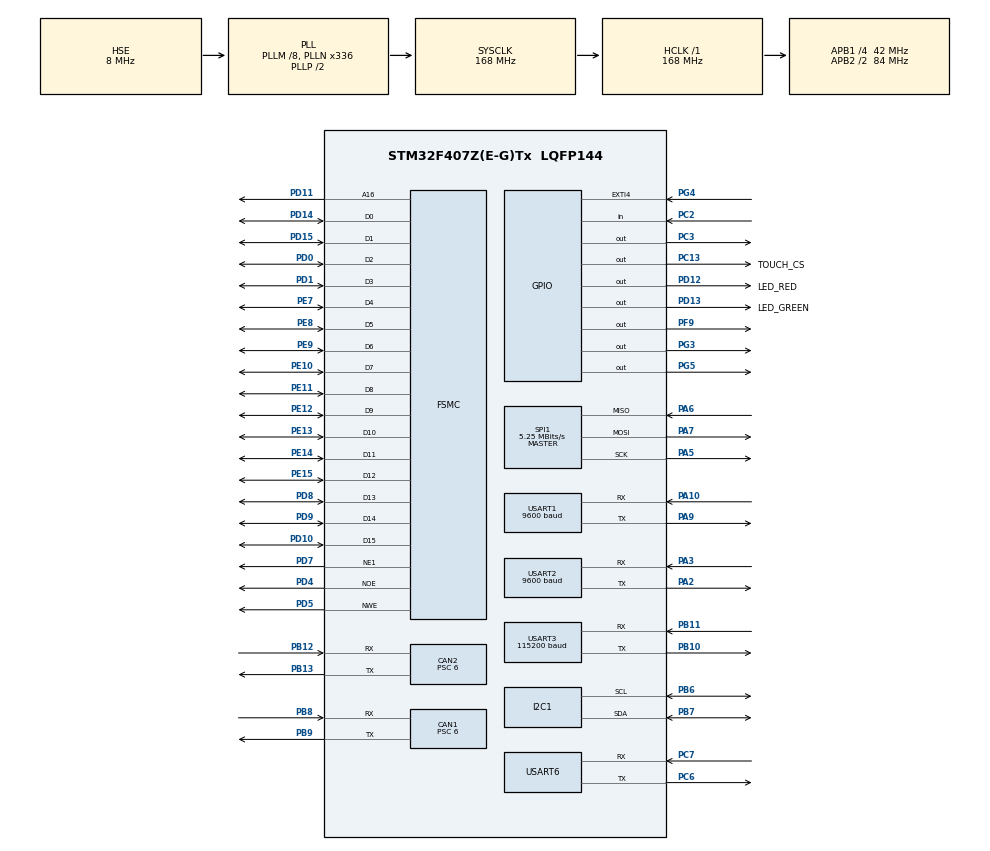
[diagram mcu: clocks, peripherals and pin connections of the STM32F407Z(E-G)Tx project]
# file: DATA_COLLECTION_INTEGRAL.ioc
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CAN1.ABOM=ENABLE
CAN1.AWUM=DISABLE
CAN1.BS1=CAN_BS1_12TQ
CAN1.CalculateBaudRate=500000
CAN1.CalculateTimeBit=2000
CAN1.CalculateTimeQuantum=142.85714285714286
CAN1.NART=ENABLE
CAN1.Prescaler=6
CAN2.ABOM=ENABLE
CAN2.AWUM=DISABLE
CAN2.BS1=CAN_BS1_12TQ
CAN2.CalculateBaudRate=500000
CAN2.CalculateTimeBit=2000
CAN2.CalculateTimeQuantum=142.85714285714286
CAN2.NART=ENABLE
CAN2.Prescaler=6
Dma.Request0=USART1_RX
Dma.Request1=USART1_TX
Dma.Request2=USART3_RX
Dma.Request3=USART3_TX
Dma.Request4=SPI1_RX
Dma.Request5=SPI1_TX
Dma.SPI1_RX.4.Direction=DMA_PERIPH_TO_MEMORY
Dma.SPI1_RX.4.FIFOMode=DMA_FIFOMODE_DISABLE
Dma.SPI1_RX.4.Instance=DMA2_Stream0
Dma.SPI1_RX.4.MemDataAlignment=DMA_MDATAALIGN_BYTE
Dma.SPI1_RX.4.MemInc=DMA_MINC_ENABLE
Dma.SPI1_RX.4.Mode=DMA_CIRCULAR
Dma.SPI1_RX.4.PeriphDataAlignment=DMA_PDATAALIGN_BYTE
Dma.SPI1_RX.4.PeriphInc=DMA_PINC_DISABLE
Dma.SPI1_RX.4.Priority=DMA_PRIORITY_LOW
Dma.SPI1_TX.5.Direction=DMA_MEMORY_TO_PERIPH
Dma.SPI1_TX.5.FIFOMode=DMA_FIFOMODE_DISABLE
Dma.SPI1_TX.5.Instance=DMA2_Stream5
Dma.SPI1_TX.5.MemDataAlignment=DMA_MDATAALIGN_BYTE
Dma.SPI1_TX.5.MemInc=DMA_MINC_ENABLE
Dma.SPI1_TX.5.Mode=DMA_NORMAL
Dma.SPI1_TX.5.PeriphDataAlignment=DMA_PDATAALIGN_BYTE
Dma.SPI1_TX.5.PeriphInc=DMA_PINC_DISABLE
Dma.SPI1_TX.5.Priority=DMA_PRIORITY_LOW
Dma.USART1_RX.0.Direction=DMA_PERIPH_TO_MEMORY
Dma.USART1_RX.0.FIFOMode=DMA_FIFOMODE_DISABLE
Dma.USART1_RX.0.Instance=DMA2_Stream2
Dma.USART1_RX.0.MemDataAlignment=DMA_MDATAALIGN_BYTE
Dma.USART1_RX.0.MemInc=DMA_MINC_ENABLE
Dma.USART1_RX.0.Mode=DMA_CIRCULAR
Dma.USART1_RX.0.PeriphDataAlignment=DMA_PDATAALIGN_BYTE
Dma.USART1_RX.0.PeriphInc=DMA_PINC_DISABLE
Dma.USART1_RX.0.Priority=DMA_PRIORITY_LOW
Dma.USART1_TX.1.Direction=DMA_MEMORY_TO_PERIPH
Dma.USART1_TX.1.FIFOMode=DMA_FIFOMODE_DISABLE
Dma.USART1_TX.1.Instance=DMA2_Stream7
Dma.USART1_TX.1.MemDataAlignment=DMA_MDATAALIGN_BYTE
Dma.USART1_TX.1.MemInc=DMA_MINC_ENABLE
Dma.USART1_TX.1.Mode=DMA_NORMAL
Dma.USART1_TX.1.PeriphDataAlignment=DMA_PDATAALIGN_BYTE
Dma.USART1_TX.1.PeriphInc=DMA_PINC_DISABLE
Dma.USART1_TX.1.Priority=DMA_PRIORITY_LOW
Dma.USART3_RX.2.Direction=DMA_PERIPH_TO_MEMORY
Dma.USART3_RX.2.FIFOMode=DMA_FIFOMODE_DISABLE
Dma.USART3_RX.2.Instance=DMA1_Stream1
Dma.USART3_RX.2.MemDataAlignment=DMA_MDATAALIGN_BYTE
Dma.USART3_RX.2.MemInc=DMA_MINC_ENABLE
Dma.USART3_RX.2.Mode=DMA_CIRCULAR
Dma.USART3_RX.2.PeriphDataAlignment=DMA_PDATAALIGN_BYTE
Dma.USART3_RX.2.PeriphInc=DMA_PINC_DISABLE
Dma.USART3_RX.2.Priority=DMA_PRIORITY_LOW
Dma.USART3_TX.3.Direction=DMA_MEMORY_TO_PERIPH
Dma.USART3_TX.3.FIFOMode=DMA_FIFOMODE_DISABLE
Dma.USART3_TX.3.Instance=DMA1_Stream3
Dma.USART3_TX.3.MemDataAlignment=DMA_MDATAALIGN_BYTE
Dma.USART3_TX.3.MemInc=DMA_MINC_ENABLE
Dma.USART3_TX.3.Mode=DMA_NORMAL
Dma.USART3_TX.3.PeriphDataAlignment=DMA_PDATAALIGN_BYTE
Dma.USART3_TX.3.PeriphInc=DMA_PINC_DISABLE
Dma.USART3_TX.3.Priority=DMA_PRIORITY_LOW
FREERTOS.Tasks01=defaultTask,24,1024,StartDefaultTask,Default,NULL,Dynamic,NULL,NULL
FREERTOS.configTOTAL_HEAP_SIZE=16384
FREERTOS.configMINIMAL_STACK_SIZE=256
FREERTOS.configUSE_NEWLIB_REENTRANT=1
FSMC.AddressSetupTime1=15
FSMC.BusTurnAroundDuration1=0
FSMC.DataSetupTime1=60
FSMC.ExtendedAddressSetupTime1=5
FSMC.ExtendedDataSetupTime1=15
FSMC.ExtendedMode1=FSMC_EXTENDED_MODE_ENABLE
Mcu.Family=STM32F4
Mcu.Name=STM32F407Z(E-G)Tx
Mcu.Package=LQFP144
NVIC.CAN1_RX0_IRQn=true\:5\:0\:false\:false\:true\:true\:true\:true\:true
NVIC.CAN1_RX1_IRQn=true\:5\:0\:false\:false\:true\:true\:true\:true\:true
NVIC.CAN1_SCE_IRQn=true\:5\:0\:false\:false\:true\:true\:true\:true\:true
NVIC.CAN2_RX0_IRQn=true\:5\:0\:false\:false\:true\:true\:true\:true\:true
NVIC.CAN2_RX1_IRQn=true\:5\:0\:false\:false\:true\:true\:true\:true\:true
NVIC.CAN2_SCE_IRQn=true\:5\:0\:false\:false\:true\:true\:true\:true\:true
NVIC.DMA1_Stream1_IRQn=true\:5\:0\:false\:false\:true\:true\:false\:true\:true
NVIC.DMA1_Stream3_IRQn=true\:5\:0\:false\:false\:true\:true\:false\:true\:true
NVIC.DMA2_Stream0_IRQn=true\:5\:0\:false\:false\:true\:false\:false\:true\:true
NVIC.DMA2_Stream2_IRQn=true\:5\:0\:false\:false\:true\:true\:false\:true\:true
NVIC.DMA2_Stream5_IRQn=true\:5\:0\:false\:false\:true\:true\:false\:true\:true
NVIC.DMA2_Stream7_IRQn=true\:5\:0\:false\:false\:true\:true\:false\:true\:true
NVIC.PriorityGroup=NVIC_PRIORITYGROUP_4
NVIC.TIM8_UP_TIM13_IRQn=true\:15\:0\:false\:false\:true\:false\:false\:true\:true
NVIC.TimeBase=TIM8_UP_TIM13_IRQn
NVIC.TimeBaseIP=TIM8
NVIC.USART1_IRQn=true\:5\:0\:false\:false\:true\:true\:true\:true\:true
NVIC.USART3_IRQn=true\:5\:0\:false\:false\:true\:true\:true\:true\:true
NVIC.USART6_IRQn=true\:5\:0\:false\:false\:true\:true\:true\:true\:true
PA10.GPIO_PuPd=GPIO_PULLUP
PA10.Mode=Asynchronous
PA10.Signal=USART1_RX
PA13.Mode=Serial_Wire
PA13.Signal=SYS_JTMS-SWDIO
PA14.Mode=Serial_Wire
PA14.Signal=SYS_JTCK-SWCLK
PA2.Mode=Asynchronous
PA2.Signal=USART2_TX
PA3.Mode=Asynchronous
PA3.Signal=USART2_RX
PA5.Mode=Full_Duplex_Master
PA5.Signal=SPI1_SCK
PA6.GPIO_PuPd=GPIO_PULLUP
PA6.Mode=Full_Duplex_Master
PA6.Signal=SPI1_MISO
PA7.Mode=Full_Duplex_Master
PA7.Signal=SPI1_MOSI
PA9.Mode=Asynchronous
PA9.Signal=USART1_TX
PB10.Mode=Asynchronous
PB10.Signal=USART3_TX
PB11.GPIO_PuPd=GPIO_PULLUP
PB11.Mode=Asynchronous
PB11.Signal=USART3_RX
PB12.GPIO_PuPd=GPIO_PULLUP
PB12.Mode=CAN_Activate
PB12.Signal=CAN2_RX
PB13.GPIO_PuPd=GPIO_PULLUP
PB13.Mode=CAN_Activate
PB13.Signal=CAN2_TX
PB6.GPIO_Pu=GPIO_PULLUP
PB6.Mode=I2C
PB6.Signal=I2C1_SCL
PB7.GPIO_Pu=GPIO_PULLUP
PB7.Mode=I2C
PB7.Signal=I2C1_SDA
PB8.GPIO_PuPd=GPIO_PULLUP
PB8.Mode=CAN_Activate
PB8.Signal=CAN1_RX
PB9.GPIO_PuPd=GPIO_NOPULL
PB9.Mode=CAN_Activate
PB9.Signal=CAN1_TX
PC13-ANTI_TAMP.GPIO_Label=TOUCH_CS
PC13-ANTI_TAMP.Signal=GPIO_Output
PC14-OSC32_IN.Mode=LSE-External-Oscillator
PC14-OSC32_IN.Signal=RCC_OSC32_IN
PC15-OSC32_OUT.Mode=LSE-External-Oscillator
PC15-OSC32_OUT.Signal=RCC_OSC32_OUT
PC2.Signal=GPIO_Input
PC3.Signal=GPIO_Output
PC6.Mode=Asynchronous
PC6.Signal=USART6_TX
PC7.GPIO_PuPd=GPIO_PULLUP
PC7.Mode=Asynchronous
PC7.Signal=USART6_RX
PD0.Signal=FSMC_D2_DA2
PD1.Signal=FSMC_D3_DA3
PD10.Signal=FSMC_D15_DA15
PD11.Signal=FSMC_A16_CLE
PD12.GPIO_Label=LED_RED
PD12.Signal=GPIO_Output
PD13.GPIO_Label=LED_GREEN
PD13.Signal=GPIO_Output
PD14.Signal=FSMC_D0_DA0
PD15.Signal=FSMC_D1_DA1
PD4.Signal=FSMC_NOE
PD5.Signal=FSMC_NWE
PD7.Mode=NorPsramChipSelect1_1
PD7.Signal=FSMC_NE1
PD8.Signal=FSMC_D13_DA13
PD9.Signal=FSMC_D14_DA14
PE10.Signal=FSMC_D7_DA7
PE11.Signal=FSMC_D8_DA8
PE12.Signal=FSMC_D9_DA9
PE13.Signal=FSMC_D10_DA10
PE14.Signal=FSMC_D11_DA11
PE15.Signal=FSMC_D12_DA12
PE7.Signal=FSMC_D4_DA4
PE8.Signal=FSMC_D5_DA5
PE9.Signal=FSMC_D6_DA6
PF9.GPIO_Speed=GPIO_SPEED_FREQ_MEDIUM
PF9.Signal=GPIO_Output
PG3.Signal=GPIO_Output
PG4.GPIO_PuPd=GPIO_PULLDOWN
PG4.Signal=GPXTI4
PG5.Signal=GPIO_Output
PH0-OSC_IN.Mode=HSE-External-Oscillator
PH0-OSC_IN.Signal=RCC_OSC_IN
PH1-OSC_OUT.Mode=HSE-External-Oscillator
PH1-OSC_OUT.Signal=RCC_OSC_OUT
ProjectManager.HeapSize=0x200
ProjectManager.StackSize=0x2000
ProjectManager.TargetToolchain=STM32CubeIDE
RCC.48MHZClocksFreq_Value=48000000
RCC.AHBFreq_Value=168000000
RCC.APB1CLKDivider=RCC_HCLK_DIV4
RCC.APB1Freq_Value=42000000
RCC.APB1TimFreq_Value=84000000
RCC.APB2CLKDivider=RCC_HCLK_DIV2
RCC.APB2Freq_Value=84000000
RCC.APB2TimFreq_Value=168000000
RCC.CortexFreq_Value=168000000
RCC.HCLKFreq_Value=168000000
RCC.HSE_VALUE=8000000
RCC.HSI_VALUE=16000000
RCC.PLLM=8
RCC.PLLN=336
RCC.PLLQ=7
RCC.PLLSourceVirtual=RCC_PLLSOURCE_HSE
RCC.RCC_RTC_Clock_Source=RCC_RTCCLKSOURCE_LSE
RCC.RCC_RTC_Clock_SourceVirtual=RCC_RTCCLKSOURCE_LSE
RCC.SYSCLKFreq_VALUE=168000000
RCC.SYSCLKSource=RCC_SYSCLKSOURCE_PLLCLK
RCC.VCOOutputFreq_Value=336000000
SH.FSMC_A16_CLE.0=FSMC_A16,A16_1
SH.FSMC_D0_DA0.0=FSMC_D0,16b-d1
SH.FSMC_D10_DA10.0=FSMC_D10,16b-d1
SH.FSMC_D11_DA11.0=FSMC_D11,16b-d1
SH.FSMC_D12_DA12.0=FSMC_D12,16b-d1
SH.FSMC_D13_DA13.0=FSMC_D13,16b-d1
SH.FSMC_D14_DA14.0=FSMC_D14,16b-d1
SH.FSMC_D15_DA15.0=FSMC_D15,16b-d1
SH.FSMC_D1_DA1.0=FSMC_D1,16b-d1
SH.FSMC_D2_DA2.0=FSMC_D2,16b-d1
SH.FSMC_D3_DA3.0=FSMC_D3,16b-d1
SH.FSMC_D4_DA4.0=FSMC_D4,16b-d1
SH.FSMC_D5_DA5.0=FSMC_D5,16b-d1
SH.FSMC_D6_DA6.0=FSMC_D6,16b-d1
SH.FSMC_D7_DA7.0=FSMC_D7,16b-d1
SH.FSMC_D8_DA8.0=FSMC_D8,16b-d1
SH.FSMC_D9_DA9.0=FSMC_D9,16b-d1
SH.FSMC_NOE.0=FSMC_NOE,Lcd1
SH.FSMC_NWE.0=FSMC_NWE,Lcd1
SPI1.BaudRatePrescaler=SPI_BAUDRATEPRESCALER_16
SPI1.CLKPhase=SPI_PHASE_2EDGE
SPI1.CLKPolarity=SPI_POLARITY_HIGH
SPI1.CalculateBaudRate=5.25 MBits/s
SPI1.Direction=SPI_DIRECTION_2LINES
SPI1.Mode=SPI_MODE_MASTER
SPI1.VirtualType=VM_MASTER
USART1.BaudRate=9600
USART1.VirtualMode=VM_ASYNC
USART2.BaudRate=9600
USART2.VirtualMode=VM_ASYNC
USART3.BaudRate=115200
USART3.VirtualMode=VM_ASYNC
USART6.VirtualMode=VM_ASYNC
VP_FREERTOS_VS_CMSIS_V2.Mode=CMSIS_V2
VP_RTC_VS_RTC_Activate.Mode=RTC_Enabled
VP_SYS_VS_tim8.Mode=TIM8
board=custom

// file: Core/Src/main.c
/* USER CODE BEGIN Header */
/**
  ******************************************************************************
  * @file           : main.c
  * @brief          : Main program body
  ******************************************************************************
  * @attention
  *
  * Copyright (c) 2025 STMicroelectronics.
  * All rights reserved.
  *
  * This software is licensed under terms that can be found in the LICENSE file
  * in the root directory of this software component.
  * If no LICENSE file comes with this software, it is provided AS-IS.
  *
  ******************************************************************************
  */
/* USER CODE END Header */
#include "main.h"
#include "cmsis_os.h"
#include "can.h"
#include "dma.h"
#include "i2c.h"
#include "rtc.h"
#include "spi.h"
#include "usart.h"
#include "gpio.h"
#include "fsmc.h"

/* USER CODE BEGIN Includes */
#include "../lvgl/lvgl.h"
#include "dashboard_ui.h"
#include "odometer_flash.h"
#include "firmware_diag.h"
#include "speed_trace.h"

/* USER CODE END Includes */

/* USER CODE BEGIN PV */
static lv_display_t * g_lvgl_display;
/* Keep the verified 10-line main-SRAM buffer. The attempted 32-line CCMRAM
 * buffer is intentionally not used until its hardware behavior can be tested. */
static uint16_t g_lvgl_draw_buf[800U * 10U];
volatile uint32_t g_lvgl_flush_count;

/* USER CODE END PV */

void SystemClock_Config(void);
void MX_FREERTOS_Init(void);
/* USER CODE BEGIN PFP */
void SSD1963_Init(void);
void LCD_FillColor(uint16_t color);
void LVGL_Port_Init(void);
void LED_Diag_SetBootStage(uint8_t stage);

/* USER CODE END PFP */

/* USER CODE BEGIN 0 */
#if BOARD_BRINGUP_MINIMAL
#define MX_DMA_Init() ((void)0)
#define MX_CAN1_Init() ((void)0)
#define MX_CAN2_Init() ((void)0)
#define MX_RTC_Init() ((void)0)
#define MX_SPI1_Init() ((void)0)
#define MX_USART1_UART_Init() ((void)0)
#define MX_USART3_UART_Init() ((void)0)
#define MX_FSMC_Init() ((void)0)
#define MX_USART2_UART_Init() ((void)0)
#define osKernelInitialize() ((void)0)
#define MX_FREERTOS_Init() ((void)0)
#define osKernelStart() ((void)0)

static void BoardBringup_MinimalInit(void)
{
  HAL_GPIO_WritePin(GPIOD, LED_RED_Pin, GPIO_PIN_RESET);
  HAL_GPIO_WritePin(GPIOD, LED_GREEN_Pin, GPIO_PIN_SET);
}

static void BoardBringup_MinimalLoop(void)
{
  static uint8_t led_phase = 0U;

  if(led_phase == 0U) {
    HAL_GPIO_WritePin(GPIOD, LED_RED_Pin, GPIO_PIN_SET);
    HAL_GPIO_WritePin(GPIOD, LED_GREEN_Pin, GPIO_PIN_RESET);
  }
  else {
    HAL_GPIO_WritePin(GPIOD, LED_RED_Pin, GPIO_PIN_RESET);
    HAL_GPIO_WritePin(GPIOD, LED_GREEN_Pin, GPIO_PIN_SET);
  }

  led_phase ^= 1U;
  HAL_Delay(200);
}
#endif

#define LCD_HOR_RES 800
#define LCD_VER_RES 480

// 1. 基础读写宏: 16 位总线下 FSMC_A16(PD11) 对应字节地址位 17, 作为 SSD1963 的命令/数据选择
#define LCD_REG  *(__IO uint16_t *)(0x60000000)
#define LCD_DATA *(__IO uint16_t *)(0x60020000)

static void LCD_SetAddressWindow(uint16_t x1, uint16_t y1, uint16_t x2, uint16_t y2)
{
  LCD_REG = 0x2A;
  LCD_DATA = x1 >> 8;
  LCD_DATA = x1 & 0xFF;
  LCD_DATA = x2 >> 8;
  LCD_DATA = x2 & 0xFF;

  LCD_REG = 0x2B;
  LCD_DATA = y1 >> 8;
  LCD_DATA = y1 & 0xFF;
  LCD_DATA = y2 >> 8;
  LCD_DATA = y2 & 0xFF;

  LCD_REG = 0x2C;
}

/* Keep the hot FSMC loop optimized independently of the build profile. */
static void __attribute__((optimize("O3")))
LCD_WritePixels(const uint16_t * colors, uint32_t pixel_count)
{
  while(pixel_count >= 8U) {
    LCD_DATA = *colors++;
    LCD_DATA = *colors++;
    LCD_DATA = *colors++;
    LCD_DATA = *colors++;
    LCD_DATA = *colors++;
    LCD_DATA = *colors++;
    LCD_DATA = *colors++;
    LCD_DATA = *colors++;
    pixel_count -= 8U;
  }
  while(pixel_count > 0U) {
    LCD_DATA = *colors++;
    pixel_count--;
  }
}

static void LCD_Backlight_SetEnabled(uint8_t enabled)
{
  HAL_GPIO_WritePin(GPIOF, GPIO_PIN_9,
                   (enabled != 0U) ? GPIO_PIN_SET : GPIO_PIN_RESET);
}

static void LCD_Backlight_On(void)
{
  LCD_Backlight_SetEnabled(1U);
}

static void LCD_Backlight_Off(void)
{
  LCD_Backlight_SetEnabled(0U);
}

static void SSD1963_Reset_Assert(void)
{
  HAL_GPIO_WritePin(SSD1963_RST_GPIO_Port, SSD1963_RST_Pin, GPIO_PIN_RESET);
}

static void SSD1963_Reset_Release(void)
{
  HAL_GPIO_WritePin(SSD1963_RST_GPIO_Port, SSD1963_RST_Pin, GPIO_PIN_SET);
}

static void SSD1963_HardReset(void)
{
  SSD1963_Reset_Assert();
  HAL_Delay(10);
  SSD1963_Reset_Release();
  HAL_Delay(60);
}

void LED_Diag_SetBootStage(uint8_t stage)
{
  switch(stage) {
    case 0:
      HAL_GPIO_WritePin(GPIOD, LED_RED_Pin, GPIO_PIN_SET);
      HAL_GPIO_WritePin(GPIOD, LED_GREEN_Pin, GPIO_PIN_RESET);
      break;

    case 1:
      HAL_GPIO_WritePin(GPIOD, LED_RED_Pin, GPIO_PIN_SET);
      HAL_GPIO_WritePin(GPIOD, LED_GREEN_Pin, GPIO_PIN_SET);
      break;

    case 2:
      HAL_GPIO_WritePin(GPIOD, LED_RED_Pin, GPIO_PIN_RESET);
      HAL_GPIO_WritePin(GPIOD, LED_GREEN_Pin, GPIO_PIN_SET);
      break;

    /* Stages 3/4 come from Dashboard_UI_Init (see dashboard_ui.c). The LED
     * vocabulary has only four patterns, so 3 repeats stage 0 and 4 repeats
     * stage 1; the boot order disambiguates them. */
    case 3: /* UI init running, night icon not yet created */
      HAL_GPIO_WritePin(GPIOD, LED_RED_Pin, GPIO_PIN_SET);
      HAL_GPIO_WritePin(GPIOD, LED_GREEN_Pin, GPIO_PIN_RESET);
      break;

    case 4: /* UI init past the night-icon allocation */
      HAL_GPIO_WritePin(GPIOD, LED_RED_Pin, GPIO_PIN_SET);
      HAL_GPIO_WritePin(GPIOD, LED_GREEN_Pin, GPIO_PIN_SET);
      break;

    case 5: /* UI init fully complete (pool + backlight done) */
      HAL_GPIO_WritePin(GPIOD, LED_RED_Pin, GPIO_PIN_RESET);
      HAL_GPIO_WritePin(GPIOD, LED_GREEN_Pin, GPIO_PIN_RESET);
      break;

    default:
      HAL_GPIO_WritePin(GPIOD, LED_RED_Pin, GPIO_PIN_RESET);
      HAL_GPIO_WritePin(GPIOD, LED_GREEN_Pin, GPIO_PIN_RESET);
      break;
  }
}

static void lvgl_flush_cb(lv_display_t * disp, const lv_area_t * area, uint8_t * px_map)
{
  uint32_t start_cycles = DWT->CYCCNT;
  uint32_t width = (uint32_t)(area->x2 - area->x1 + 1);
  uint32_t height = (uint32_t)(area->y2 - area->y1 + 1);

  LCD_SetAddressWindow((uint16_t)area->x1, (uint16_t)area->y1, (uint16_t)area->x2, (uint16_t)area->y2);
  LCD_WritePixels((const uint16_t *)px_map, width * height);
  g_lvgl_flush_count++;
  g_firmware_diag.flushed_pixels += width * height;
  if(lv_display_flush_is_last(disp)) {
    SpeedTrace_FrameDone(HAL_GetTick());   /* 一帧最后一块写完：车速可见延迟的终点 */
  }
  uint32_t elapsed_cycles = DWT->CYCCNT - start_cycles;
  if(elapsed_cycles > g_firmware_diag.flush_max_cycles) {
    g_firmware_diag.flush_max_cycles = elapsed_cycles;
  }
  lv_display_flush_ready(disp);
}

void LVGL_Port_Init(void)
{
  lv_init();
  lv_tick_set_cb(HAL_GetTick);

  g_lvgl_display = lv_display_create(LCD_HOR_RES, LCD_VER_RES);
  lv_display_set_color_format(g_lvgl_display, LV_COLOR_FORMAT_RGB565);
  lv_display_set_flush_cb(g_lvgl_display, lvgl_flush_cb);
  lv_display_set_buffers(g_lvgl_display,
               g_lvgl_draw_buf,
               NULL,
               sizeof(g_lvgl_draw_buf),
               LV_DISPLAY_RENDER_MODE_PARTIAL);
  /* A new GNSS speed waits at most one refresh period before it is drawn;
   * LV_DEF_REFR_PERIOD (33 ms) is shared with the simulator, so set it here. */
  lv_timer_set_period(lv_display_get_refr_timer(g_lvgl_display), 16U);

  Dashboard_UI_Init();
  lv_refr_now(g_lvgl_display);
  LED_Diag_SetBootStage(2);
  LCD_Backlight_On();
}

// 2. 商家标准的 SSD1963 初始化序列
void SSD1963_Init(void) {
    HAL_Delay(10);

    LCD_REG = 0x01;
    HAL_Delay(10);

    LCD_REG = 0xE2;
    LCD_DATA = 0x1D; // N=29
    LCD_DATA = 0x02; // M=2
    LCD_DATA = 0x04;

    LCD_REG = 0xE0;
    LCD_DATA = 0x01;
    HAL_Delay(10);
    LCD_REG = 0xE0;
    LCD_DATA = 0x03;
    HAL_Delay(12);

    LCD_REG = 0x01;
    HAL_Delay(10);

    LCD_REG = 0xE6;
    LCD_DATA = 0x03;
    LCD_DATA = 0xFF;
    LCD_DATA = 0xFF;

    LCD_REG = 0xB0;
    LCD_DATA = 0x20;
    LCD_DATA = 0x00;
    LCD_DATA = (800-1)>>8;
    LCD_DATA = 800-1;
    LCD_DATA = (480-1)>>8;
    LCD_DATA = 480-1;
    LCD_DATA = 0x00;

    LCD_REG = 0xB4;
    LCD_DATA = (1056-1)>>8;
    LCD_DATA = 1056-1;
    LCD_DATA = 46>>8;
    LCD_DATA = 46;
    LCD_DATA = 1-1;
    LCD_DATA = 0x00; LCD_DATA = 0x00; LCD_DATA = 0x00;

    LCD_REG = 0xB6;
    LCD_DATA = (525-1)>>8;
    LCD_DATA = 525-1;
    LCD_DATA = 23>>8;
    LCD_DATA = 23;
    LCD_DATA = 22-1;
    LCD_DATA = 0x00; LCD_DATA = 0x00;

    LCD_REG = 0xF0;
    LCD_DATA = 0x03;

    LCD_REG = 0x29;
    HAL_Delay(10);

    LCD_REG = 0xD0;
    LCD_DATA = 0x00;

    /* Keep the module's existing SSD1963 PWM setup. The current PCB uses PF9
     * as a binary backlight enable. */
    LCD_REG = 0xBE;
    LCD_DATA = 0x05;
    LCD_DATA = 0xFE;
    LCD_DATA = 0x01;
    LCD_DATA = 0x00;
    LCD_DATA = 0x00;
    LCD_DATA = 0x00;
}

// 3. 读取 ID 测试函数 (用于诊断)
uint16_t SSD1963_ReadID(void) {
    uint16_t id = 0;
    LCD_REG = 0xA1;
    LCD_DATA; // 丢弃第一个哑读 (SSD1963 特性)
    id = LCD_DATA << 8;
    id |= (LCD_DATA & 0xFF);
    return id; // 预期返回值应包含 0x196 关键词
}

void LCD_FillColor(uint16_t color)
{
    uint32_t i;

  LCD_SetAddressWindow(0, 0, LCD_HOR_RES - 1, LCD_VER_RES - 1);
  for (i = 0; i < ((uint32_t)LCD_HOR_RES * LCD_VER_RES); i++)
    {
        LCD_DATA = color;
    }
}
/* USER CODE END 0 */

int main(void)
{

  /* MCU Configuration--------------------------------------------------------*/

  /* Reset of all peripherals, Initializes the Flash interface and the Systick. */
  HAL_Init();

  /* Configure the system clock */
  SystemClock_Config();

  /* Initialize all configured peripherals */
  MX_GPIO_Init();
  MX_DMA_Init();
  MX_CAN1_Init();
  MX_CAN2_Init();
  MX_RTC_Init();
  MX_SPI1_Init();
  MX_USART1_UART_Init();
  MX_USART3_UART_Init();
  MX_FSMC_Init();
  MX_USART2_UART_Init();
  MX_I2C1_Init();
  MX_USART6_UART_Init();
  /* USER CODE BEGIN 2 */
#if BOARD_BRINGUP_MINIMAL
  BoardBringup_MinimalInit();
#else
  /* An odometer sector erase stalls the CPU for seconds (about once per 1,600 km),
   * so it runs before the CAN controllers start. */
  Odometer_Flash_Init();
  CAN1_Filter_Config();
  if(HAL_CAN_Start(&hcan1) != HAL_OK) {
    Error_Handler();
  }
  /* ABOM is enabled in CubeMX, so bus-off recovers in hardware; the BUSOFF
   * notification only feeds the g_can_bus_off_count diagnostic. */
  if(HAL_CAN_ActivateNotification(&hcan1,
                                  CAN_IT_RX_FIFO0_MSG_PENDING |
                                  CAN_IT_ERROR | CAN_IT_BUSOFF) != HAL_OK) {
    Error_Handler();
  }

  /* CAN2 = steering wheel bus. RX only; received frames are relayed to CAN1. */
  CAN2_Filter_Config();
  if(HAL_CAN_Start(&hcan2) != HAL_OK) {
    Error_Handler();
  }
  if(HAL_CAN_ActivateNotification(&hcan2, CAN_IT_RX_FIFO0_MSG_PENDING |
                                  CAN_IT_ERROR | CAN_IT_BUSOFF) != HAL_OK) {
    Error_Handler();
  }

  LCD_Backlight_Off();
  SSD1963_Reset_Assert();
  LED_Diag_SetBootStage(0);

  HAL_Delay(50);

  SSD1963_HardReset();
  SSD1963_Init();
  LED_Diag_SetBootStage(1);
  Firmware_Diag_Init();
  /* Dashboard 任务初始化 LVGL。背光实际由 Dashboard_UI_Init 末尾的 TIM14 PWM 点亮,
   * 早于随后 lv_refr_now 的首帧; LVGL_Port_Init 里的 LCD_Backlight_On 对已复用的 PF9 无效。 */
#endif
  /* USER CODE END 2 */

  /* Init scheduler */
  osKernelInitialize();  /* Call init function for freertos objects (in cmsis_os2.c) */
  MX_FREERTOS_Init();

  /* Start scheduler */
  osKernelStart();

  /* We should never get here as control is now taken by the scheduler */

  /* Infinite loop */
  while (1)
  {

    /* USER CODE BEGIN 3 */
#if BOARD_BRINGUP_MINIMAL
    BoardBringup_MinimalLoop();
#endif
  }
  /* USER CODE END 3 */
}

void SystemClock_Config(void)
{
  RCC_OscInitTypeDef RCC_OscInitStruct = {0};
  RCC_ClkInitTypeDef RCC_ClkInitStruct = {0};

  /** Configure the main internal regulator output voltage
  */
  __HAL_RCC_PWR_CLK_ENABLE();
  __HAL_PWR_VOLTAGESCALING_CONFIG(PWR_REGULATOR_VOLTAGE_SCALE1);

  /** Initializes the RCC Oscillators according to the specified parameters
  * in the RCC_OscInitTypeDef structure.
  */
  RCC_OscInitStruct.OscillatorType = RCC_OSCILLATORTYPE_HSE|RCC_OSCILLATORTYPE_LSE;
  RCC_OscInitStruct.HSEState = RCC_HSE_ON;
  RCC_OscInitStruct.LSEState = RCC_LSE_ON;
  RCC_OscInitStruct.PLL.PLLState = RCC_PLL_ON;
  RCC_OscInitStruct.PLL.PLLSource = RCC_PLLSOURCE_HSE;
  RCC_OscInitStruct.PLL.PLLM = 8;
  RCC_OscInitStruct.PLL.PLLN = 336;
  RCC_OscInitStruct.PLL.PLLP = RCC_PLLP_DIV2;
  RCC_OscInitStruct.PLL.PLLQ = 7;
  if (HAL_RCC_OscConfig(&RCC_OscInitStruct) != HAL_OK)
  {
    Error_Handler();
  }

  /** Initializes the CPU, AHB and APB buses clocks
  */
  RCC_ClkInitStruct.ClockType = RCC_CLOCKTYPE_HCLK|RCC_CLOCKTYPE_SYSCLK
                              |RCC_CLOCKTYPE_PCLK1|RCC_CLOCKTYPE_PCLK2;
  RCC_ClkInitStruct.SYSCLKSource = RCC_SYSCLKSOURCE_PLLCLK;
  RCC_ClkInitStruct.AHBCLKDivider = RCC_SYSCLK_DIV1;
  RCC_ClkInitStruct.APB1CLKDivider = RCC_HCLK_DIV4;
  RCC_ClkInitStruct.APB2CLKDivider = RCC_HCLK_DIV2;

  if (HAL_RCC_ClockConfig(&RCC_ClkInitStruct, FLASH_LATENCY_5) != HAL_OK)
  {
    Error_Handler();
  }
}

void HAL_TIM_PeriodElapsedCallback(TIM_HandleTypeDef *htim)
{
  if (htim->Instance == TIM8)
  {
    HAL_IncTick();
  }
}

void Error_Handler(void)
{
  __disable_irq();
  while (1)
  {
  }
}

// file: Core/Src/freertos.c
/* USER CODE BEGIN Header */
/**
  ******************************************************************************
  * File Name          : freertos.c
  * Description        : Code for freertos applications
  ******************************************************************************
  * @attention
  *
  * Copyright (c) 2026 STMicroelectronics.
  * All rights reserved.
  *
  * This software is licensed under terms that can be found in the LICENSE file
  * in the root directory of this software component.
  * If no LICENSE file comes with this software, it is provided AS-IS.
  *
  ******************************************************************************
  */
/* USER CODE END Header */

#include "FreeRTOS.h"
#include "task.h"
#include "main.h"
#include "cmsis_os.h"

/* USER CODE BEGIN Includes */
#include "cmsis_os2.h"
#include "can.h"
#include "dashboard_ui.h"
#include "../lvgl/lvgl.h"
#include "touch.h"
#include "gps.h"
#include "diag_cli.h"
#include "firmware_diag.h"

extern void LVGL_Port_Init(void);
extern volatile uint32_t g_lvgl_flush_count;
/* USER CODE END Includes */

/* USER CODE BEGIN Variables */

#define DASHBOARD_TASK_STACK_WORDS 3072U

static StaticTask_t g_dashboard_task_control;
static StackType_t g_dashboard_task_stack[DASHBOARD_TASK_STACK_WORDS];
static TaskHandle_t g_dashboard_task_handle;

volatile uint32_t g_freertos_fault_code;
volatile const char * g_freertos_fault_task_name;

static StaticTask_t g_touch_task_control;
static StackType_t g_touch_task_stack[1024U];
osThreadId_t touchTaskHandle;
const osThreadAttr_t touchTask_attributes = {
  .name = "touchTask",
  .cb_mem = &g_touch_task_control,
  .cb_size = sizeof(g_touch_task_control),
  .stack_mem = g_touch_task_stack,
  .stack_size = 1024 * 4,
  .priority = (osPriority_t) osPriorityNormal,
};

/* USER CODE END Variables */
/* Definitions for defaultTask */
osThreadId_t defaultTaskHandle;
const osThreadAttr_t defaultTask_attributes = {
  .name = "defaultTask",
  .stack_size = 1024 * 4,
  .priority = (osPriority_t) osPriorityNormal,
};

/* USER CODE BEGIN FunctionPrototypes */

static void Dashboard_ServiceTask(void * argument);

/* USER CODE END FunctionPrototypes */

void StartDefaultTask(void *argument);

void MX_FREERTOS_Init(void); /* (MISRA C 2004 rule 8.1) */

void MX_FREERTOS_Init(void) {

  /* Create the thread(s) */
  /* creation of defaultTask */
  defaultTaskHandle = osThreadNew(StartDefaultTask, NULL, &defaultTask_attributes);

  /* USER CODE BEGIN RTOS_THREADS */
  /* creation of touchTask */
  configASSERT(defaultTaskHandle != NULL);
  touchTaskHandle = osThreadNew(Touch_ServiceTask, NULL, &touchTask_attributes);
  Firmware_Diag_RegisterTask(FW_TASK_TOUCH, touchTaskHandle, "Touch", sizeof(g_touch_task_stack));
  CAN_StartServiceTask();
  GPS_Init();
  Diag_CLI_Init();
  /* USER CODE END RTOS_THREADS */

}

void StartDefaultTask(void *argument)
{
  /* USER CODE BEGIN StartDefaultTask */
  (void)argument;

  /* All LVGL operations, including initialization and the first frame,
   * run on a monitored 12 KiB task stack rather than the boot MSP. */
  g_dashboard_task_handle = xTaskCreateStatic(Dashboard_ServiceTask,
                                               "Dashboard",
                                               DASHBOARD_TASK_STACK_WORDS,
                                               NULL,
                                               (UBaseType_t)osPriorityNormal,
                                               g_dashboard_task_stack,
                                               &g_dashboard_task_control);
  if(g_dashboard_task_handle == NULL) {
    taskDISABLE_INTERRUPTS();
    Firmware_Diag_RecordFault(4U);
    g_freertos_fault_code = 4U;
    g_freertos_fault_task_name = "Dashboard";
    HAL_GPIO_WritePin(LED_RED_GPIO_Port, LED_RED_Pin, GPIO_PIN_SET);
    HAL_GPIO_WritePin(LED_GREEN_GPIO_Port, LED_GREEN_Pin, GPIO_PIN_SET);
    for(;;) { }
  }

  Firmware_Diag_RegisterTask(FW_TASK_DASHBOARD, g_dashboard_task_handle,
                            "Dashboard", sizeof(g_dashboard_task_stack));

  vTaskDelete(NULL);
  /* Execution must not continue after deleting the bootstrap task. */
  for(;;) { }
  /* USER CODE END StartDefaultTask */
}

/* USER CODE BEGIN Application */

static void Dashboard_ServiceTask(void * argument)
{
  uint32_t delay_ms;
  uint32_t last_heartbeat_tick = 0U;
  uint32_t loop_start_cycles;

  (void)argument;
  LVGL_Port_Init();

  for(;;)
  {
    loop_start_cycles = DWT->CYCCNT;
    Dashboard_UI_Process();
    if(Dashboard_UI_IsStartupComplete() != 0U) {
      Touch_Process();
    }
    delay_ms = lv_timer_handler();

    if((Dashboard_UI_IsStartupComplete() != 0U) &&
       ((HAL_GetTick() - last_heartbeat_tick) >= 250U)) {
      last_heartbeat_tick = HAL_GetTick();
      HAL_GPIO_TogglePin(GPIOD, LED_GREEN_Pin);
    }

    uint32_t loop_cycles = DWT->CYCCNT - loop_start_cycles;
    if(loop_cycles > g_firmware_diag.display_loop_max_cycles) {
      g_firmware_diag.display_loop_max_cycles = loop_cycles;
    }
    Firmware_Diag_Sample();

    if(delay_ms < 5U) {
      delay_ms = 5U;
    }
    if(delay_ms > 20U) {
      delay_ms = 20U;
    }
    if((Dashboard_UI_IsStartupComplete() == 0U) && (delay_ms > 16U)) {
      delay_ms = 16U;
    }

    osDelay(delay_ms);
  }
}

void Fault_Diagnostic_Assert(void)
{
  Firmware_Diag_RecordFault(1U);
  g_freertos_fault_code = 1U;
  g_freertos_fault_task_name = "configASSERT";
  /* Both LEDs solid identifies a FreeRTOS configASSERT.  CPU fault handlers
   * use red solid / green off instead. */
  HAL_GPIO_WritePin(LED_RED_GPIO_Port, LED_RED_Pin, GPIO_PIN_SET);
  HAL_GPIO_WritePin(LED_GREEN_GPIO_Port, LED_GREEN_Pin, GPIO_PIN_SET);
}

void vApplicationStackOverflowHook(TaskHandle_t task, char * task_name)
{
  (void)task;
  taskDISABLE_INTERRUPTS();
  Firmware_Diag_RecordFault(2U);
  g_freertos_fault_code = 2U;
  g_freertos_fault_task_name = task_name;
  HAL_GPIO_WritePin(LED_RED_GPIO_Port, LED_RED_Pin, GPIO_PIN_SET);
  HAL_GPIO_WritePin(LED_GREEN_GPIO_Port, LED_GREEN_Pin, GPIO_PIN_RESET);
  for(;;) { }
}

void vApplicationMallocFailedHook(void)
{
  taskDISABLE_INTERRUPTS();
  Firmware_Diag_RecordFault(3U);
  g_freertos_fault_code = 3U;
  g_freertos_fault_task_name = "FreeRTOS heap";
  HAL_GPIO_WritePin(LED_RED_GPIO_Port, LED_RED_Pin, GPIO_PIN_RESET);
  HAL_GPIO_WritePin(LED_GREEN_GPIO_Port, LED_GREEN_Pin, GPIO_PIN_SET);
  for(;;) { }
}

/* USER CODE END Application */
